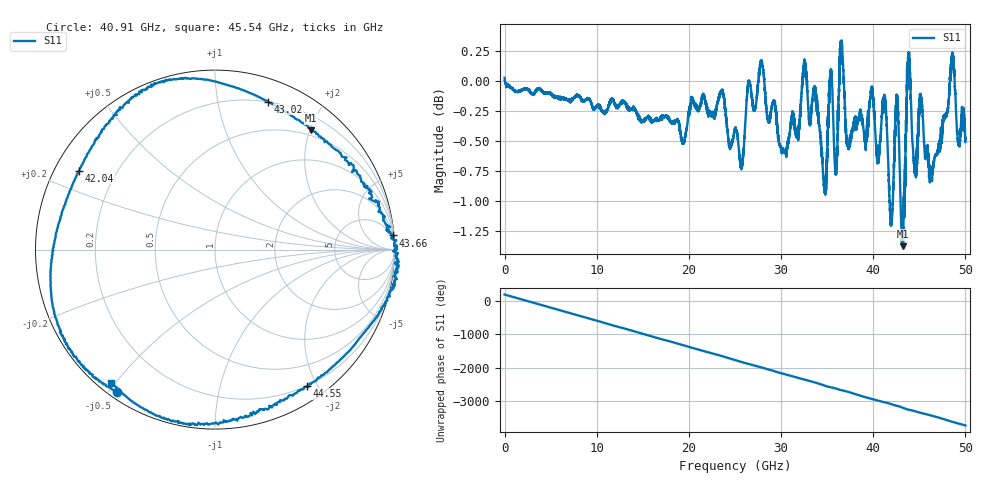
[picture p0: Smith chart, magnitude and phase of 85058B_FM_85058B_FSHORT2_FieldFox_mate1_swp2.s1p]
!Created with skrf (http://scikit-rf.org).
# Hz S RI R 50.0
!freq ReS11 ImS11
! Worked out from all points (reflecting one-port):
!   10000 points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, 5.3 MHz to 50 GHz, reference 50 ohm
!   lowest |S11| = -1.4 dB at 43.18 GHz (marker M1), VSWR 12.68, Z = 20.6 + j101 ohm
!   phase of S11 starts at 180 deg and turns -3896 deg over the sweep
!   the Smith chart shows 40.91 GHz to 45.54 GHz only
!   S11 on the Smith chart (normalised r, x): 40.91 GHz: 0.02, -0.52; 42.04 GHz: 0.07, +0.27; 43.02 GHz: 0.20, +1.40; 43.66 GHz: 2, +25; 44.55 GHz: 0.19, -1.87; 45.54 GHz: 0.04, -0.49
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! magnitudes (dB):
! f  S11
! 5.3 MHz  0.0
! 6.255 GHz  -0.1
! 12.51 GHz  -0.2
! 18.76 GHz  -0.3
! 25.01 GHz  -0.4
! 25.73 GHz  -0.7
! 27.85 GHz  0.1
! 30.02 GHz  -0.6
! 31.26 GHz  -0.3
! 32.58 GHz  0.1
! 34.75 GHz  -0.9
! 35.37 GHz  0.0
! 35.97 GHz  -0.8
! 36.57 GHz  0.3
! 37.51 GHz  -0.5
! 40.91 GHz  -0.3
! 42.04 GHz  -1.1
! 42.57 GHz  -0.1
! 43.02 GHz  -1.2
! 43.18 GHz  -1.4
! 43.66 GHz  -0.1
! 43.76 GHz  0.1
! 44.55 GHz  -0.7
! 45.15 GHz  -0.2
! 45.54 GHz  -0.5
! 46.36 GHz  -0.8
! 48.57 GHz  0.2
! 50 GHz  -0.5
